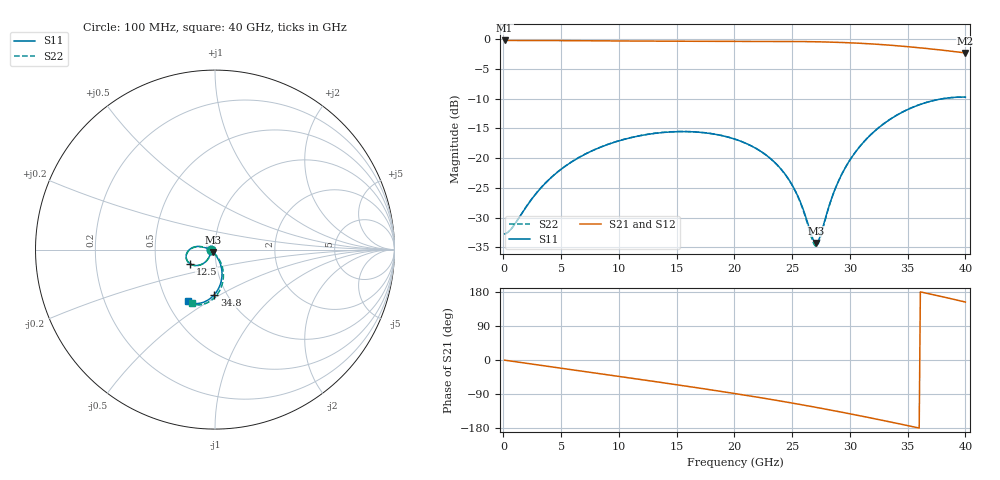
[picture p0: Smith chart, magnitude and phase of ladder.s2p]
! E_s8_L1L8_p1000_round_g2: via ladder as kisi uses it (kisi_si::via_pbm, graded grid, junction model), differential mode (per line 50 ohm)
# Hz S RI R 50
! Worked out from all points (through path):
!   400 points, 100 MHz to 40 GHz, reference 50 ohm
!   highest |S21| = -0.20 dB at 100 MHz (marker M1); lowest = -2.3 dB at 40 GHz (marker M2)
!   group delay of S21, straight-line fit = 14 ps
!   lowest |S11| = -34.3 dB at 27.1 GHz (marker M3), VSWR 1.04, Z = 48.8 - j1.45 ohm
!   |S11| at or under -10 dB: start of sweep to 38.04 GHz
!   |S22| runs from -34.8 to -9.7 dB; largest |S21 - S12| = 0
!   S11 on the Smith chart (normalised r, x): 100 MHz: 0.96, -0.00; 12.5 GHz: 0.75, -0.12; 34.8 GHz: 0.88, -0.47; 40 GHz: 0.63, -0.41
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1e8  -0.023 -0.00144  0.977 -0.00736  0.977 -0.00736  -0.023 -0.00144
7e8  -0.0235 -0.01  0.9756 -0.0515  0.9756 -0.0515  -0.0235 -0.0101
3.7e9  -0.0376 -0.0501  0.9378 -0.2684  0.9378 -0.2684  -0.0376 -0.0503
6.8e9  -0.0684 -0.0791  0.8473 -0.4768  0.8473 -0.4768  -0.0683 -0.0795
9.5e9  -0.1019 -0.0886  0.7302 -0.6364  0.7302 -0.6364  -0.1018 -0.0894
1.25e10  -0.1369 -0.0799  0.5647 -0.7823  0.5647 -0.7823  -0.1366 -0.0811
1.34e10  -0.1452 -0.0736  0.5087 -0.8187  0.5087 -0.8187  -0.145 -0.075
1.7e10  -0.1609 -0.0365  0.2599 -0.9257  0.2599 -0.9257  -0.1608 -0.0384
2.01e10  -0.1438 -0.00106  0.0196 -0.961  0.0196 -0.961  -0.1439 -0.00316
2.25e10  -0.1092 0.0161  -0.1774 -0.9445  -0.1774 -0.9445  -0.1094 0.0143
2.43e10  -0.0735 0.0162  -0.3267 -0.9023  -0.3267 -0.9023  -0.0734 0.0151
2.56e10  -0.0449 0.00699  -0.4322 -0.8541  -0.4322 -0.8541  -0.0444 0.00647
2.67e10  -0.0207 -0.00785  -0.5179 -0.8011  -0.5179 -0.8011  -0.0196 -0.00775
2.71e10  -0.0123 -0.0149  -0.5479 -0.779  -0.5479 -0.779  -0.0109 -0.0146
2.74e10  -0.00621 -0.0208  -0.5699 -0.7615  -0.5699 -0.7615  -0.00453 -0.0203
2.86e10  0.0155 -0.049  -0.6524 -0.6829  -0.6524 -0.6829  0.0185 -0.0478
2.97e10  0.0303 -0.081  -0.7188 -0.5999  -0.7188 -0.5999  0.0348 -0.0792
3.13e10  0.0392 -0.1347  -0.7955 -0.463  -0.7955 -0.463  0.0466 -0.1327
3.34e10  0.0238 -0.2082  -0.8528 -0.2631  -0.8528 -0.2631  0.0358 -0.2069
3.48e10  -0.00346 -0.2509  -0.8609 -0.1243  -0.8609 -0.1243  0.0116 -0.2511
3.74e10  -0.0781 -0.2976  -0.8117 0.1272  -0.8117 0.1272  -0.0581 -0.3024
4e10  -0.1507 -0.2891  -0.6829 0.3496  -0.6829 0.3496  -0.1288 -0.2995
